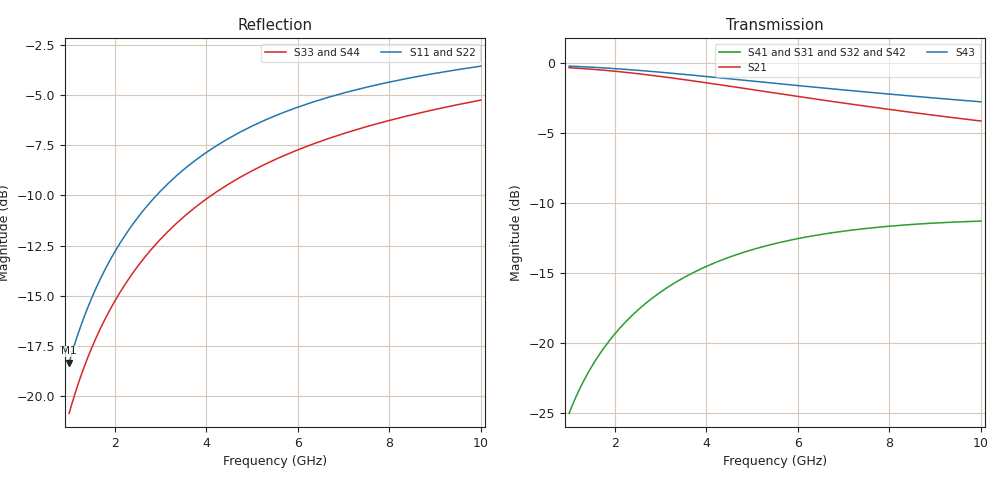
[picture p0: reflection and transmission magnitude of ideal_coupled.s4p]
! Synthetic ideal circuit; generated by generate_synthetic.py
# Hz S RI R 50
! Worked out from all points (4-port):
!   41 points, 1 GHz to 10 GHz, reference 50 ohm
!   strongest paths, dB at 1 GHz, 1.778 GHz, 3.162 GHz, 5.623 GHz, 10 GHz:
!     S43: -0.2, -0.4, -0.7, -1.5, -2.8
!     S21: -0.3, -0.5, -1.0, -2.2, -4.1
!     S41: -25.0, -20.3, -16.0, -12.8, -11.3
!     S31: -25.0, -20.3, -16.0, -12.8, -11.3
!     S32: -25.0, -20.3, -16.0, -12.8, -11.3
!     S42: -25.0, -20.3, -16.0, -12.8, -11.3
!   lowest |S11| = -18.3 dB at 1 GHz (marker M1), VSWR 1.28, Z = 53.4 + j12.1 ohm
!   |S11| at or under -10 dB: start of sweep to 2.909 GHz
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1e9  0.0465 0.1119  0.9535 -0.1195  0.0119 0.0549  -0.0119 -0.0549
     0.9535 -0.1195  0.0465 0.1119  -0.0119 -0.0549  0.0119 0.0549
     0.0119 0.0549  -0.0119 -0.0549  0.031 0.0851  0.9689 -0.0926
     -0.0119 -0.0549  0.0119 0.0549  0.9689 -0.0926  0.031 0.0851
1.496236e9  0.0668 0.1627  0.9332 -0.174  0.0257 0.0785  -0.0257 -0.0785
            0.9332 -0.174  0.0668 0.1627  -0.0257 -0.0785  0.0257 0.0785
            0.0257 0.0785  -0.0257 -0.0785  0.0445 0.1243  0.9554 -0.1356
            -0.0257 -0.0785  0.0257 0.0785  0.9554 -0.1356  0.0445 0.1243
2.113489e9  0.1004 0.2186  0.8995 -0.2345  0.0483 0.1025  -0.0483 -0.1025
            0.8995 -0.2345  0.1004 0.2186  -0.0483 -0.1025  0.0483 0.1025
            0.0483 0.1025  -0.0483 -0.1025  0.0669 0.1686  0.933 -0.1845
            -0.0483 -0.1025  0.0483 0.1025  0.933 -0.1845  0.0669 0.1686
2.985383e9  0.1582 0.2817  0.8415 -0.3042  0.0863 0.1246  -0.0863 -0.1246
            0.8415 -0.3042  0.1582 0.2817  -0.0863 -0.1246  0.0863 0.1246
            0.0863 0.1246  -0.0863 -0.1246  0.106 0.2212  0.8938 -0.2437
            -0.0863 -0.1246  0.0863 0.1246  0.8938 -0.2437  0.106 0.2212
3.981072e9  0.2302 0.3312  0.7693 -0.3613  0.1315 0.1333  -0.1315 -0.1333
            0.7693 -0.3613  0.2302 0.3312  -0.1315 -0.1333  0.1315 0.1333
            0.1315 0.1333  -0.1315 -0.1333  0.1556 0.2668  0.844 -0.2968
            -0.1315 -0.1333  0.1315 0.1333  0.844 -0.2968  0.1556 0.2668
6.309573e9  0.3854 0.3774  0.6134 -0.425  0.2167 0.1059  -0.2167 -0.1059
            0.6134 -0.425  0.3854 0.3774  -0.2167 -0.1059  0.2167 0.1059
            0.2167 0.1059  -0.2167 -0.1059  0.2689 0.3276  0.73 -0.3751
            -0.2167 -0.1059  0.2167 0.1059  0.73 -0.3751  0.2689 0.3276
1e10  0.5567 0.3615  0.4404 -0.4368  0.272 0.0172  -0.272 -0.0172
      0.4404 -0.4368  0.5567 0.3615  -0.272 -0.0172  0.272 0.0172
      0.272 0.0172  -0.272 -0.0172  0.4137 0.357  0.5834 -0.4323
      -0.272 -0.0172  0.272 0.0172  0.5834 -0.4323  0.4137 0.357
